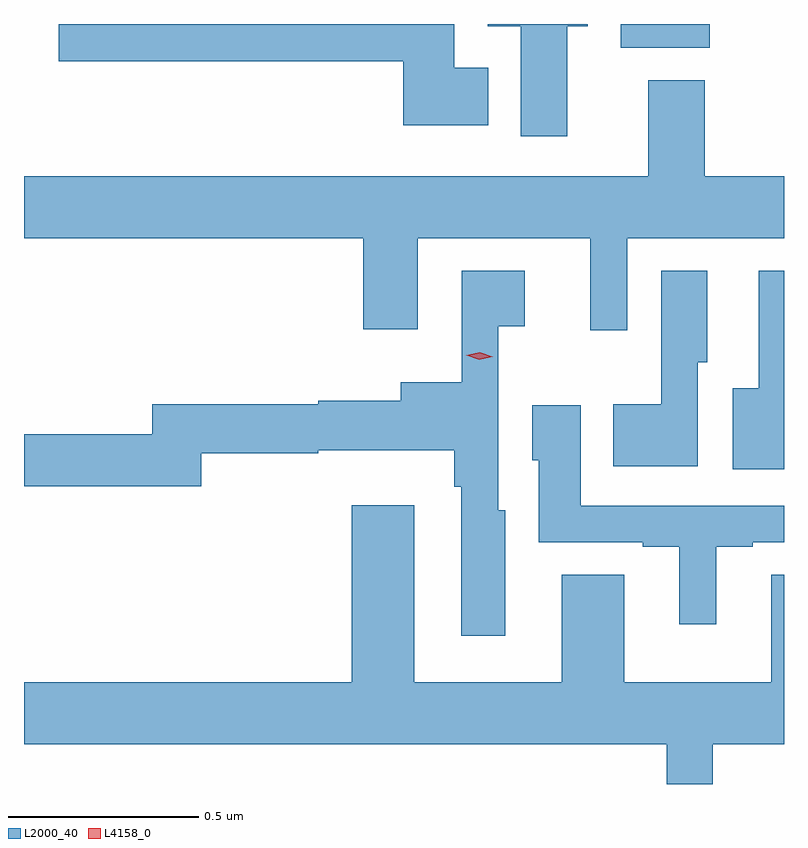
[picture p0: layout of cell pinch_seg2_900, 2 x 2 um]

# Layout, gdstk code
import gdstk
lib = gdstk.Library(unit=1e-6, precision=1e-09)
def R(c, l, rs):  # rectangles x0, y0, x1, y1
    for r in rs: c.add(gdstk.rectangle(r[:2], r[2:], *l))
def P(c, l, *ps):  # polygons
    for p in ps: c.add(gdstk.Polygon(p, *l))
L2000_40 = (2000, 40)
L4158_0 = (4158, 0)

pinch_seg2_900 = lib.new_cell('pinch_seg2_900')
R(pinch_seg2_900, L2000_40, [(486.935,601.517,487.168,601.58)])
P(pinch_seg2_900, L2000_40, [(486.586,601.465),(486.496,601.465),(486.496,601.58),(485.456,601.58),(485.456,601.482),(486.362,601.482),(486.362,601.313),(486.586,601.313)],
  [(486.793,601.574),(486.847,601.574),(486.847,601.58),(486.584,601.58),(486.584,601.574),(486.671,601.574),(486.671,601.284),(486.793,601.284)],
  [(486.951,601.016),(487.364,601.016),(487.364,601.18),(487.155,601.18),(487.155,601.432),(487.007,601.432),(487.007,601.18),(485.364,601.18),(485.364,601.016),(486.257,601.016),(486.257,600.777),(486.4,600.777),(486.4,601.016),(486.854,601.016),(486.854,600.774),(486.951,600.774)],
  [(486.631,600.3),(486.612,600.3),(486.612,600.785),(486.682,600.785),(486.682,600.931),(486.516,600.931),(486.516,600.637),(486.356,600.637),(486.356,600.588),(486.138,600.588),(486.138,600.58),(485.701,600.58),(485.701,600.5),(485.364,600.5),(485.364,600.364),(485.83,600.364),(485.83,600.451),(486.138,600.451),(486.138,600.458),(486.496,600.458),(486.496,600.362),(486.515,600.362),(486.515,599.97),(486.631,599.97)],
  [(487.137,600.69),(487.162,600.69),(487.162,600.931),(487.041,600.931),(487.041,600.58),(486.914,600.58),(486.914,600.416),(487.137,600.416)],
  [(487.364,600.931),(487.298,600.931),(487.298,600.622),(487.229,600.622),(487.229,600.408),(487.364,600.408)],
  [(487.186,600.204),(487.282,600.204),(487.282,600.216),(487.364,600.216),(487.364,600.312),(486.829,600.312),(486.829,600.577),(486.701,600.577),(486.701,600.432),(486.719,600.432),(486.719,600.216),(486.992,600.216),(486.992,600.204),(487.088,600.204),(487.088,600),(487.186,600)],
  [(487.177,599.684),(487.364,599.684),(487.364,600.131),(487.331,600.131),(487.331,599.848),(486.943,599.848),(486.943,600.131),(486.779,600.131),(486.779,599.848),(486.391,599.848),(486.391,600.313),(486.227,600.313),(486.227,599.848),(485.364,599.848),(485.364,599.684),(487.056,599.684),(487.056,599.58),(487.177,599.58)])
P(pinch_seg2_900, L4158_0, [(486.562,600.696),(486.528,600.708),(486.527,600.708),(486.528,600.708),(486.563,600.716),(486.597,600.705),(486.597,600.704),(486.597,600.704)])

lib.write_gds('pinch_seg2_900.gds')
